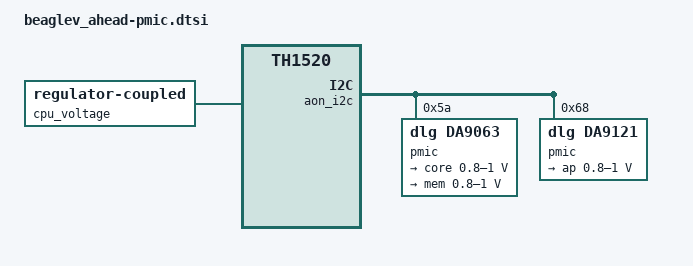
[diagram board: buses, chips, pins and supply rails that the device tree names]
/* SPDX-License-Identifier: Apache-2.0 */
#include <thead/th1520-cpu-dvfs.dtsi>
/*
 * BeagleV-Ahead v1.0 schematic, sheets 13, 14 and 16:
 * DA9063 merged BCORE1/2 -> DVDD08_CPU; BIO -> DVDD08_CPU_MEM;
 * DA9121 -> DVDD08_AP. CPU memory minus core must be > -50 mV
 * and <= 300 mV. A 20 mV BIO step limits core minus memory to 40 mV.
 * I2C addresses and settling times follow the common TH1520 AON policy.
 */
/ {
	cpu_voltage: cpu-voltage {
		compatible = "zephyr,regulator-coupled";
		regulator-name = "cpu";
		regulators = <&core &mem>;
		regulator-min-microvolt = <800000>;
		regulator-max-microvolt = <1000000>;
		regulator-always-on;
		voltage-step-microvolt = <20000>;
		min-spread-microvolt = <(-300000)>;
		max-spread-microvolt = <40000>;
	};
	zephyr,user { voltage-domains = <&cpu_voltage &ap>; };
};
&aon_i2c {
	status = "okay";
	pmic@5a {
		compatible = "dlg,da9063";
		reg = <0x5a>;
		timeout-counter = <&aon_timebase>;
		upper-bank-address = <0x5b>;
		regulators {
			#address-cells = <1>;
			#size-cells = <0>;
			core: regulator@11 {
				compatible = "dlg,da9063-regulator";
				reg = <17>;
				regulator-name = "bcores";
				regulator-min-microvolt = <800000>;
				regulator-max-microvolt = <1000000>;
				regulator-always-on;
				settling-time-us = <250>;
			};
			mem: regulator@4 {
				compatible = "dlg,da9063-regulator";
				reg = <4>;
				regulator-name = "cpu-mem";
				regulator-min-microvolt = <800000>;
				regulator-max-microvolt = <1000000>;
				regulator-always-on;
				settling-time-us = <250>;
			};
		};
	};
	pmic@68 {
		compatible = "dlg,da9121";
		reg = <0x68>;
		timeout-counter = <&aon_timebase>;
		regulators {
			#address-cells = <1>;
			#size-cells = <0>;
			ap: regulator@0 {
				compatible = "dlg,da9121-regulator";
				reg = <0>;
				regulator-name = "ap";
				regulator-min-microvolt = <800000>;
				regulator-max-microvolt = <1000000>;
				regulator-always-on;
				settling-time-us = <2000>;
			};
		};
	};
};
